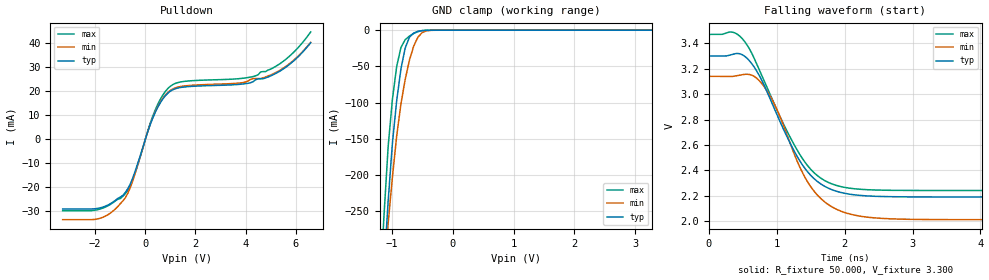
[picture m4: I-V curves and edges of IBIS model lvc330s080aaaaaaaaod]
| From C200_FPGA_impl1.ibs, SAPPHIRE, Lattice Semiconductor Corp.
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[Model] lvc330s080aaaaaaaaod
Model_type I/O_open_drain
Polarity   Non-Inverting
Enable   Active-Low
Vinl =  0.800V
Vinh =  2.000V
Vmeas =  1.650V
Cref =  0.0F
Rref =  1.000M
Vref =  3.3V
C_comp   5.000pF   4.000pF   5.500pF
[Temperature Range]   25.000   0.125k   -40.000
[Voltage Range]   3.300V   3.140V   3.470V
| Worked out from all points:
|   slope of the pulldown table from 0 to 0.495 V, typ, clamps not added: 37.2 ohm
|   GND clamp passes 1 mA (typ) near -0.54 V on its own axis
|   falling waveform, R_fixture 50.000, V_fixture 3.300: 20-80 % time 612ps typ, 577ps min, 670ps max; typ from 3.3 V to 2.19 V
[Pulldown]
|Voltage   I(typ)   I(min)   I(max)
-3.3V     -29mA      -33.46mA   -29.75mA
-1.8V     -28.53mA   -32.84mA   -29.01mA
-1.3V     -26.2mA    -29.95mA   -26.46mA
-800mV    -22.14mA   -24.37mA   -22.63mA
-500mV    -16.05mA   -17.19mA   -16.84mA
300mV     8.946mA    9.108mA    9.732mA
600mV     15.23mA    15.49mA    16.68mA
1V        20.02mA    20.36mA    22.09mA
1.6V      21.81mA    22.24mA    24.14mA
4.4V      24.77mA    25.27mA    26.4mA
5.5V      29.22mA    29.55mA    32.41mA
6.6V      40.19mA    40.34mA    44.66mA
[GND_clamp]
|Voltage   I(typ)   I(min)   I(max)
-3.3V     -4.927A    -3.455A    -6.917A
-1.2V     -438mA     -409mA     -376.6mA
-1.13V    -332.7mA   -335.8mA   -258.9mA
-1.06V    -236.4mA   -267mA     -161mA
-990mV    -156.1mA   -203.1mA   -95.6mA
-920mV    -97.57mA   -146.3mA   -50.22mA
-850mV    -53.64mA   -101.9mA   -23.95mA
-780mV    -24.57mA   -67.95mA   -13.06mA
-640mV    -3.835mA   -21.83mA   -4.519mA
-500mV    -471.8uA   -3.197mA   -537.5uA
-360mV    -15.56uA   -174.4uA   -12.69uA
3.28V     0A         0A         0A
[Ramp]
| variable   typ   min   max
dV/dt_r 0.918/0.854n   0.922/0.619n   0.975/0.493n
dV/dt_f 0.666/0.622n   0.677/0.590n   0.737/0.676n
R_load = 50.000
[Falling Waveform]
R_fixture= 50.000
V_fixture= 3.300
V_fixture_min= 3.140
V_fixture_max= 3.470
|time   V(typ)   V(min)   V(max)
0s        3.3V       3.14V      3.47V
422ps     3.32V      3.146V     3.47V
580ps     3.272V     3.156V     3.371V
737ps     3.151V     3.108V     3.197V
980ps     2.865V     2.904V     2.901V
1.39ns    2.433V     2.37V      2.483V
1.641ns   2.295V     2.182V     2.341V
1.95ns    2.225V     2.078V     2.271V
3.01ns    2.191V     2.014V     2.242V
10ns      2.19V      2.012V     2.241V
